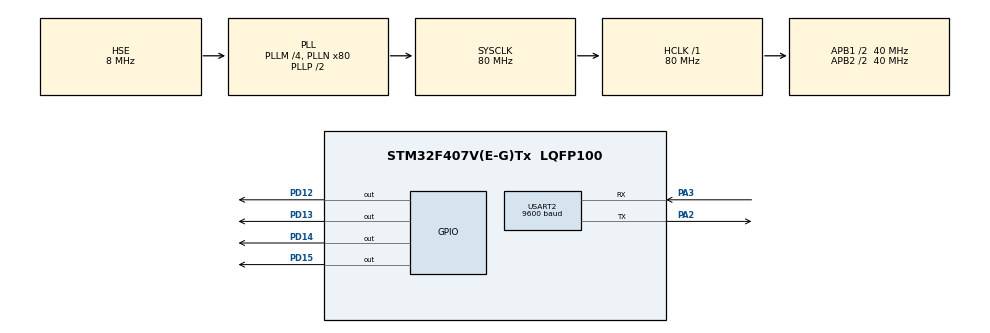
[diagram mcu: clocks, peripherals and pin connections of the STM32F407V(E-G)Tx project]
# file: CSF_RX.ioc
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Mcu.Family=STM32F4
Mcu.Name=STM32F407V(E-G)Tx
Mcu.Package=LQFP100
NVIC.PriorityGroup=NVIC_PRIORITYGROUP_0
PA2.Mode=Asynchronous
PA2.Signal=USART2_TX
PA3.GPIO_PuPd=GPIO_PULLUP
PA3.GPIO_Speed=GPIO_SPEED_FREQ_HIGH
PA3.Mode=Asynchronous
PA3.Signal=USART2_RX
PD12.Signal=GPIO_Output
PD13.Signal=GPIO_Output
PD14.Signal=GPIO_Output
PD15.GPIO_ModeDefaultOutputPP=GPIO_MODE_OUTPUT_PP
PD15.Signal=GPIO_Output
PH0-OSC_IN.Mode=HSE-External-Oscillator
PH0-OSC_IN.Signal=RCC_OSC_IN
PH1-OSC_OUT.Mode=HSE-External-Oscillator
PH1-OSC_OUT.Signal=RCC_OSC_OUT
ProjectManager.HeapSize=0x200
ProjectManager.StackSize=0x400
ProjectManager.TargetToolchain=STM32CubeIDE
RCC.48MHZClocksFreq_Value=22857142.85714286
RCC.AHBFreq_Value=80000000
RCC.APB1CLKDivider=RCC_HCLK_DIV2
RCC.APB1Freq_Value=40000000
RCC.APB1TimFreq_Value=80000000
RCC.APB2CLKDivider=RCC_HCLK_DIV2
RCC.APB2Freq_Value=40000000
RCC.APB2TimFreq_Value=80000000
RCC.CortexFreq_Value=80000000
RCC.HCLKFreq_Value=80000000
RCC.HSE_VALUE=8000000
RCC.HSI_VALUE=16000000
RCC.LSE_VALUE=32768
RCC.PLLM=4
RCC.PLLN=80
RCC.PLLQ=7
RCC.PLLSourceVirtual=RCC_PLLSOURCE_HSE
RCC.SYSCLKFreq_VALUE=80000000
RCC.SYSCLKSource=RCC_SYSCLKSOURCE_PLLCLK
RCC.VCOOutputFreq_Value=160000000
USART2.BaudRate=9600
USART2.Mode=MODE_RX
USART2.VirtualMode=VM_ASYNC
board=STM32F407G-DISC1

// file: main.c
/* USER CODE BEGIN Header */
/**
  ******************************************************************************
  * @file           : main.c
  * @brief          : Main program body
  ******************************************************************************
  * @attention
  *
  * Copyright (c) 2025 STMicroelectronics.
  * All rights reserved.
  *
  * This software is licensed under terms that can be found in the LICENSE file
  * in the root directory of this software component.
  * If no LICENSE file comes with this software, it is provided AS-IS.
  *
  ******************************************************************************
  */
/* USER CODE END Header */
#include "main.h"
#include "usart.h"
#include "gpio.h"

/* USER CODE BEGIN PD */
#define seuil1 200
#define seuil2 100
/* USER CODE END PD */

/* USER CODE BEGIN PV */
uint8_t adc_value=0X00;
/* USER CODE END PV */

void SystemClock_Config(void);

/* USER CODE BEGIN 0 */
void HAL_UART_RxCpltCallback(UART_HandleTypeDef *huart)
{
	if (huart->Instance == USART2)
	{
		if (adc_value>seuil1)

			{ HAL_GPIO_WritePin(GPIOD, GPIO_PIN_12, GPIO_PIN_SET);
			  HAL_GPIO_WritePin(GPIOD, GPIO_PIN_13, GPIO_PIN_SET);
			}

		else if (adc_value>seuil2){

				HAL_GPIO_WritePin(GPIOD, GPIO_PIN_13, GPIO_PIN_RESET);
				HAL_GPIO_WritePin(GPIOD, GPIO_PIN_12, GPIO_PIN_SET);

				}

			else

			{	HAL_GPIO_WritePin(GPIOD, GPIO_PIN_13, GPIO_PIN_RESET);
				HAL_GPIO_WritePin(GPIOD, GPIO_PIN_12, GPIO_PIN_RESET);

		}
			if (HAL_UART_Receive_IT(&huart2,&adc_value,sizeof(adc_value))!= HAL_OK)
			  {
				  Error_Handler();
			  }
	}
	}

/* USER CODE END 0 */

int main(void)
{

  /* MCU Configuration--------------------------------------------------------*/

  /* Reset of all peripherals, Initializes the Flash interface and the Systick. */
  HAL_Init();

  /* Configure the system clock */
  SystemClock_Config();

  /* Initialize all configured peripherals */
  MX_GPIO_Init();
  MX_USART2_UART_Init();
  /* USER CODE BEGIN 2 */

if (HAL_UART_Receive_IT(&huart2,&adc_value,sizeof(adc_value))!= HAL_OK)
  {
	  Error_Handler();
  }
  /* USER CODE END 2 */

  /* Infinite loop */
  /* USER CODE BEGIN WHILE */
  while (1)
  {HAL_GPIO_TogglePin(GPIOD,GPIO_PIN_15);
  HAL_Delay(1000);
    /* USER CODE END WHILE */

  }
}

void SystemClock_Config(void)
{
  RCC_OscInitTypeDef RCC_OscInitStruct = {0};
  RCC_ClkInitTypeDef RCC_ClkInitStruct = {0};

  /** Configure the main internal regulator output voltage
  */
  __HAL_RCC_PWR_CLK_ENABLE();
  __HAL_PWR_VOLTAGESCALING_CONFIG(PWR_REGULATOR_VOLTAGE_SCALE1);

  /** Initializes the RCC Oscillators according to the specified parameters
  * in the RCC_OscInitTypeDef structure.
  */
  RCC_OscInitStruct.OscillatorType = RCC_OSCILLATORTYPE_HSE;
  RCC_OscInitStruct.HSEState = RCC_HSE_ON;
  RCC_OscInitStruct.PLL.PLLState = RCC_PLL_ON;
  RCC_OscInitStruct.PLL.PLLSource = RCC_PLLSOURCE_HSE;
  RCC_OscInitStruct.PLL.PLLM = 4;
  RCC_OscInitStruct.PLL.PLLN = 80;
  RCC_OscInitStruct.PLL.PLLP = RCC_PLLP_DIV2;
  RCC_OscInitStruct.PLL.PLLQ = 7;
  if (HAL_RCC_OscConfig(&RCC_OscInitStruct) != HAL_OK)
  {
    Error_Handler();
  }

  /** Initializes the CPU, AHB and APB buses clocks
  */
  RCC_ClkInitStruct.ClockType = RCC_CLOCKTYPE_HCLK|RCC_CLOCKTYPE_SYSCLK
                              |RCC_CLOCKTYPE_PCLK1|RCC_CLOCKTYPE_PCLK2;
  RCC_ClkInitStruct.SYSCLKSource = RCC_SYSCLKSOURCE_PLLCLK;
  RCC_ClkInitStruct.AHBCLKDivider = RCC_SYSCLK_DIV1;
  RCC_ClkInitStruct.APB1CLKDivider = RCC_HCLK_DIV2;
  RCC_ClkInitStruct.APB2CLKDivider = RCC_HCLK_DIV2;

  if (HAL_RCC_ClockConfig(&RCC_ClkInitStruct, FLASH_LATENCY_2) != HAL_OK)
  {
    Error_Handler();
  }
}

void Error_Handler(void)
{
  /* USER CODE BEGIN Error_Handler_Debug */
  /* User can add his own implementation to report the HAL error return state */
  __disable_irq();
  HAL_GPIO_WritePin(GPIOD, GPIO_PIN_14,GPIO_PIN_SET);
  while (1)
  {
  }
  /* USER CODE END Error_Handler_Debug */
}
